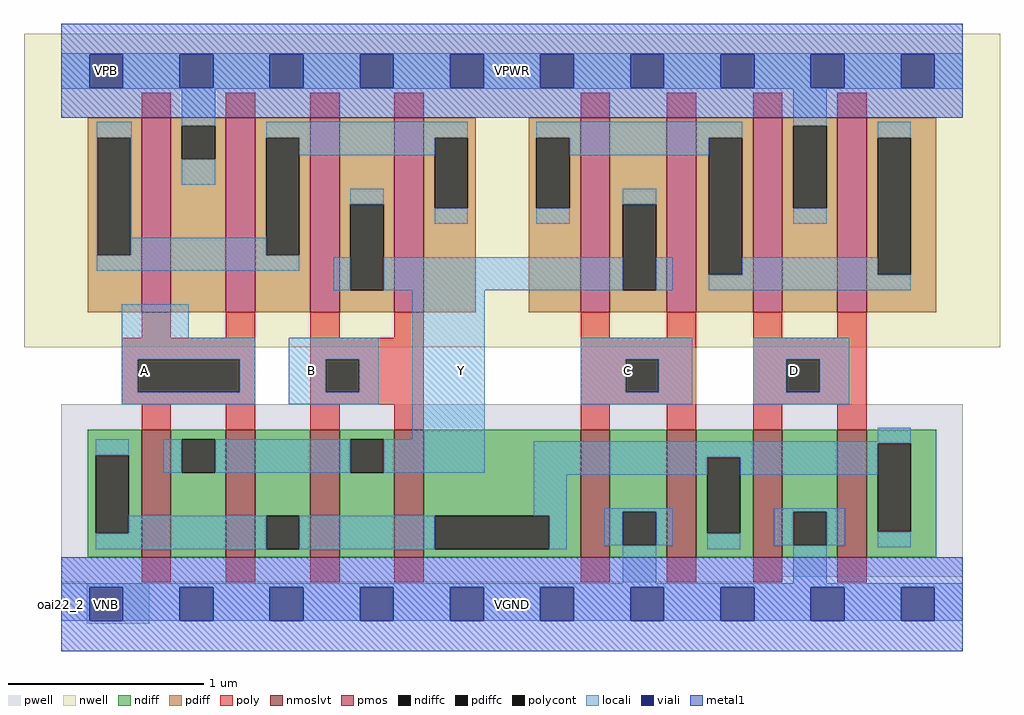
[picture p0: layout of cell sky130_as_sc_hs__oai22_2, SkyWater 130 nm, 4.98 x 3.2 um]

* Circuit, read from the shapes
.subckt sky130_as_sc_hs__oai22_2 VNB VPB VPWR VGND A B C D Y
XM1 Y A n1 VNB sky130_fd_pr__nfet_01v8_lvt w=0.65 l=0.15 m=2
XM2 Y B n1 VNB sky130_fd_pr__nfet_01v8_lvt w=0.65 l=0.15 m=2
XM3 VGND C n1 VNB sky130_fd_pr__nfet_01v8_lvt w=0.65 l=0.15 m=2
XM4 VGND D n1 VNB sky130_fd_pr__nfet_01v8_lvt w=0.65 l=0.15 m=2
XM5 VPWR A n2 VPB sky130_fd_pr__pfet_01v8 w=0.99 l=0.15 m=2
XM6 Y B n2 VPB sky130_fd_pr__pfet_01v8 w=0.99 l=0.15 m=2
XM7 Y C n3 VPB sky130_fd_pr__pfet_01v8 w=0.99 l=0.15 m=2
XM8 VPWR D n3 VPB sky130_fd_pr__pfet_01v8 w=0.99 l=0.15 m=2
.ends

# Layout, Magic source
magic
tech sky130A
magscale 1 2
<< nwell >>
rect -38 262 958 582
<< pwell >>
rect 0 28 920 204
rect 0 22 736 28
rect 26 -20 90 22
<< pmos >>
rect 82 298 112 496
rect 168 298 198 496
rect 254 298 284 496
rect 340 298 370 496
rect 530 298 560 496
rect 618 298 648 496
rect 706 298 736 496
rect 792 298 822 496
<< nmoslvt >>
rect 82 48 112 178
rect 168 48 198 178
rect 254 48 284 178
rect 340 48 370 178
rect 530 48 560 178
rect 618 48 648 178
rect 706 48 736 178
rect 792 48 822 178
<< ndiff >>
rect 27 152 82 178
rect 27 72 35 152
rect 69 72 82 152
rect 27 48 82 72
rect 112 168 168 178
rect 112 134 123 168
rect 157 134 168 168
rect 112 48 168 134
rect 198 90 254 178
rect 198 56 209 90
rect 243 56 254 90
rect 198 48 254 56
rect 284 168 340 178
rect 284 134 295 168
rect 329 134 340 168
rect 284 48 340 134
rect 370 90 530 178
rect 370 56 381 90
rect 498 56 530 90
rect 370 48 530 56
rect 560 94 618 178
rect 560 60 573 94
rect 607 60 618 94
rect 560 48 618 60
rect 648 150 706 178
rect 648 72 659 150
rect 693 72 706 150
rect 648 48 706 72
rect 736 94 792 178
rect 736 60 747 94
rect 781 60 792 94
rect 736 48 792 60
rect 822 164 893 178
rect 822 74 833 164
rect 867 74 893 164
rect 822 48 893 74
<< pdiff >>
rect 27 476 82 496
rect 27 356 37 476
rect 71 356 82 476
rect 27 298 82 356
rect 112 488 168 496
rect 112 454 123 488
rect 157 454 168 488
rect 112 298 168 454
rect 198 476 254 496
rect 198 356 209 476
rect 243 356 254 476
rect 198 298 254 356
rect 284 408 340 496
rect 284 320 295 408
rect 329 320 340 408
rect 284 298 340 320
rect 370 476 423 496
rect 370 404 381 476
rect 415 404 423 476
rect 370 298 423 404
rect 477 476 530 496
rect 477 404 485 476
rect 519 404 530 476
rect 477 298 530 404
rect 560 408 618 496
rect 560 320 573 408
rect 607 320 618 408
rect 560 298 618 320
rect 648 476 706 496
rect 648 336 661 476
rect 695 336 706 476
rect 648 298 706 336
rect 736 488 792 496
rect 736 404 747 488
rect 781 404 792 488
rect 736 298 792 404
rect 822 476 893 496
rect 822 336 833 476
rect 867 336 893 476
rect 822 298 893 336
<< ndiffc >>
rect 35 72 69 152
rect 123 134 157 168
rect 209 56 243 90
rect 295 134 329 168
rect 381 56 498 90
rect 573 60 607 94
rect 659 72 693 150
rect 747 60 781 94
rect 833 74 867 164
<< pdiffc >>
rect 37 356 71 476
rect 123 454 157 488
rect 209 356 243 476
rect 295 320 329 408
rect 381 404 415 476
rect 485 404 519 476
rect 573 320 607 408
rect 661 336 695 476
rect 747 404 781 488
rect 833 336 867 476
<< poly >>
rect 82 496 112 522
rect 168 496 198 522
rect 254 496 284 522
rect 340 496 370 522
rect 530 496 560 522
rect 618 496 648 522
rect 706 496 736 522
rect 792 496 822 522
rect 82 272 112 298
rect 168 272 198 298
rect 62 250 198 272
rect 62 216 78 250
rect 182 216 198 250
rect 62 204 198 216
rect 82 178 112 204
rect 168 178 198 204
rect 254 272 284 298
rect 340 272 370 298
rect 254 250 370 272
rect 254 216 270 250
rect 304 216 370 250
rect 254 204 370 216
rect 254 178 284 204
rect 340 178 370 204
rect 530 272 560 298
rect 618 272 648 298
rect 530 250 648 272
rect 530 216 576 250
rect 610 216 648 250
rect 530 204 648 216
rect 530 178 560 204
rect 618 178 648 204
rect 706 272 736 298
rect 792 272 822 298
rect 706 250 822 272
rect 706 216 740 250
rect 774 216 822 250
rect 706 204 822 216
rect 706 178 736 204
rect 792 178 822 204
rect 82 22 112 48
rect 168 22 198 48
rect 254 22 284 48
rect 340 22 370 48
rect 530 22 560 48
rect 618 22 648 48
rect 706 22 736 48
rect 792 22 822 48
<< polycont >>
rect 78 216 182 250
rect 270 216 304 250
rect 576 216 610 250
rect 740 216 774 250
<< locali >>
rect 0 561 920 562
rect 0 527 29 561
rect 63 527 121 561
rect 155 527 213 561
rect 247 527 305 561
rect 339 527 397 561
rect 431 527 489 561
rect 523 527 581 561
rect 615 527 673 561
rect 707 527 765 561
rect 799 527 857 561
rect 891 527 920 561
rect 0 526 920 527
rect 36 476 72 492
rect 36 356 37 476
rect 71 374 72 476
rect 123 488 157 526
rect 123 428 157 454
rect 209 476 415 492
rect 71 356 209 374
rect 243 458 381 476
rect 36 340 243 356
rect 295 408 329 424
rect 278 320 295 354
rect 381 388 415 404
rect 485 476 695 492
rect 519 458 661 476
rect 485 388 519 404
rect 573 408 607 424
rect 329 320 573 354
rect 607 320 624 354
rect 747 488 781 526
rect 747 388 781 404
rect 833 476 867 492
rect 695 336 833 354
rect 661 320 867 336
rect 62 272 130 306
rect 62 250 198 272
rect 62 216 78 250
rect 182 216 198 250
rect 62 204 198 216
rect 232 250 324 272
rect 232 216 270 250
rect 304 216 324 250
rect 232 204 324 216
rect 358 168 432 320
rect 530 250 644 272
rect 530 216 576 250
rect 610 216 644 250
rect 530 204 644 216
rect 706 250 804 272
rect 706 216 740 250
rect 774 216 804 250
rect 706 204 804 216
rect 35 152 69 168
rect 104 134 123 168
rect 157 134 295 168
rect 329 134 432 168
rect 833 166 867 180
rect 482 164 867 166
rect 482 150 833 164
rect 482 132 659 150
rect 482 90 516 132
rect 69 72 209 90
rect 35 56 209 72
rect 243 56 381 90
rect 498 56 516 90
rect 554 94 624 98
rect 554 60 573 94
rect 607 60 624 94
rect 693 132 833 150
rect 573 21 607 60
rect 659 56 693 72
rect 728 94 799 98
rect 728 60 747 94
rect 781 60 799 94
rect 747 21 781 60
rect 833 58 867 74
rect 0 17 920 21
rect 0 -17 29 17
rect 63 -17 121 17
rect 155 -17 213 17
rect 247 -17 305 17
rect 339 -17 397 17
rect 431 -17 489 17
rect 523 -17 581 17
rect 615 -17 673 17
rect 707 -17 765 17
rect 799 -17 857 17
rect 891 -17 920 17
<< viali >>
rect 29 527 63 561
rect 121 527 155 561
rect 213 527 247 561
rect 305 527 339 561
rect 397 527 431 561
rect 489 527 523 561
rect 581 527 615 561
rect 673 527 707 561
rect 765 527 799 561
rect 857 527 891 561
rect 29 -17 63 17
rect 121 -17 155 17
rect 213 -17 247 17
rect 305 -17 339 17
rect 397 -17 431 17
rect 489 -17 523 17
rect 581 -17 615 17
rect 673 -17 707 17
rect 765 -17 799 17
rect 857 -17 891 17
<< metal1 >>
rect 0 561 920 592
rect 0 527 29 561
rect 63 527 121 561
rect 155 527 213 561
rect 247 527 305 561
rect 339 527 397 561
rect 431 527 489 561
rect 523 527 581 561
rect 615 527 673 561
rect 707 527 765 561
rect 799 527 857 561
rect 891 527 920 561
rect 0 496 920 527
rect 0 17 920 48
rect 0 -17 29 17
rect 63 -17 121 17
rect 155 -17 213 17
rect 247 -17 305 17
rect 339 -17 397 17
rect 431 -17 489 17
rect 523 -17 581 17
rect 615 -17 673 17
rect 707 -17 765 17
rect 799 -17 857 17
rect 891 -17 920 17
rect 0 -48 920 -17
<< labels >>
rlabel comment s 0 0 0 0 4 oai22_2
flabel pwell s 29 -17 63 17 0 FreeSans 200 0 0 0 VNB
port 1 nsew ground bidirectional
flabel pwell s 46 0 46 0 0 FreeSans 200 0 0 0 VNB
flabel nwell s 29 527 63 561 0 FreeSans 200 0 0 0 VPB
port 2 nsew power bidirectional
flabel nwell s 46 544 46 544 0 FreeSans 200 0 0 0 VPB
flabel metal1 s 29 527 63 561 0 FreeSans 200 0 0 0 VPWR
port 3 nsew power bidirectional abutment
flabel metal1 s 29 -17 63 17 0 FreeSans 200 0 0 0 VGND
port 4 nsew ground bidirectional abutment
rlabel metal1 s 0 -48 920 48 1 VGND
port 4 nsew ground bidirectional abutment
rlabel metal1 s 0 496 920 592 1 VPWR
port 3 nsew power bidirectional abutment
flabel locali s 68 221 102 255 0 FreeSans 200 0 0 0 A
port 5 nsew signal input
flabel locali s 85 238 85 238 0 FreeSans 200 0 0 0 A
flabel locali s 238 221 272 255 0 FreeSans 200 0 0 0 B
port 6 nsew signal input
flabel locali s 255 238 255 238 0 FreeSans 200 0 0 0 B
flabel locali s 561 221 595 255 0 FreeSans 200 0 0 0 C
port 7 nsew signal input
flabel locali s 578 238 578 238 0 FreeSans 200 0 0 0 C
flabel locali s 731 221 765 255 0 FreeSans 200 0 0 0 D
port 8 nsew signal input
flabel locali s 748 238 748 238 0 FreeSans 200 0 0 0 D
flabel locali s 391 221 425 255 0 FreeSans 200 0 0 0 Y
port 9 nsew signal output
flabel locali s 408 238 408 238 0 FreeSans 200 0 0 0 Y
<< properties >>
string FIXED_BBOX 0 0 920 544
string GDS_FILE $PDKPATH/libs.ref/sky130_as_sc_hs/gds/sky130_as_sc_hs__oai22_2.gds
string LEFclass CORE
string LEFsite unithd
string LEFsymmetry X Y R90
string MASKHINTS_LVTN 0 -4 920 220
string MASKHINTS_NSDM 0 -38 920 209
string MASKHINTS_PSDM 0 273 920 582
<< end >>
